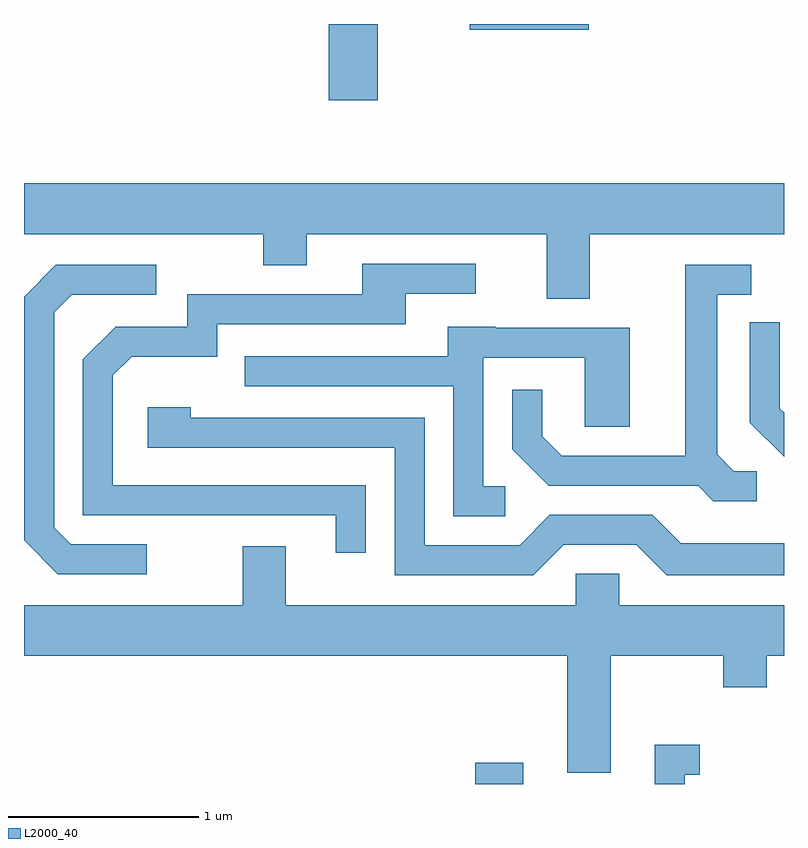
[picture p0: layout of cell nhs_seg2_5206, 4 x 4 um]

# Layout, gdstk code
import gdstk
lib = gdstk.Library(unit=1e-6, precision=1e-09)
def R(c, l, rs):  # rectangles x0, y0, x1, y1
    for r in rs: c.add(gdstk.rectangle(r[:2], r[2:], *l))
def P(c, l, *ps):  # polygons
    for p in ps: c.add(gdstk.Polygon(p, *l))
L2000_40 = (2000, 40)

nhs_seg2_5206 = lib.new_cell('nhs_seg2_5206')
R(nhs_seg2_5206, L2000_40, [(339.986,1109.802,340.239,1109.914), (339.216,1113.401,339.474,1113.802), (339.956,1113.771,340.584,1113.802)])
P(nhs_seg2_5206, L2000_40, [(340.589,1112.696),(341.611,1112.696),(341.611,1112.964),(337.611,1112.964),(337.611,1112.696),(338.871,1112.696),(338.871,1112.531),(339.099,1112.531),(339.099,1112.696),(340.361,1112.696),(340.361,1112.356),(340.589,1112.356)],
  [(339.409,1111.374),(338.079,1111.374),(338.079,1111.954),(338.177,1112.051),(338.629,1112.051),(338.629,1112.221),(339.619,1112.221),(339.619,1112.381),(339.988,1112.381),(339.988,1112.539),(339.391,1112.539),(339.391,1112.379),(338.471,1112.379),(338.471,1112.209),(338.094,1112.209),(337.921,1112.037),(337.921,1111.216),(339.251,1111.216),(339.251,1111.018),(339.409,1111.018)],
  [(341.468,1111.449),(341.347,1111.449),(341.259,1111.537),(341.259,1112.376),(341.438,1112.376),(341.438,1112.534),(341.091,1112.534),(341.091,1111.529),(340.442,1111.529),(340.339,1111.632),(340.339,1111.878),(340.181,1111.878),(340.181,1111.564),(340.374,1111.371),(341.159,1111.371),(341.239,1111.291),(341.468,1111.291)],
  [(338.258,1111.064),(337.857,1111.064),(337.769,1111.152),(337.769,1112.284),(337.862,1112.376),(338.308,1112.376),(338.308,1112.534),(337.779,1112.534),(337.611,1112.367),(337.611,1111.084),(337.789,1110.906),(338.258,1110.906)],
  [(341.611,1111.755),(341.589,1111.777),(341.589,1112.233),(341.431,1112.233),(341.431,1111.704),(341.611,1111.524)],
  [(340.143,1111.369),(340.029,1111.369),(340.029,1112.046),(340.561,1112.046),(340.561,1111.681),(340.799,1111.681),(340.799,1112.204),(340.095,1112.204),(340.095,1112.209),(339.841,1112.209),(339.841,1112.054),(338.773,1112.054),(338.773,1111.896),(339.871,1111.896),(339.871,1111.211),(340.143,1111.211)],
  [(340.452,1111.061),(340.834,1111.061),(340.994,1110.901),(341.611,1110.901),(341.611,1111.069),(341.067,1111.069),(340.917,1111.219),(340.379,1111.219),(340.219,1111.059),(339.719,1111.059),(339.719,1111.729),(338.489,1111.729),(338.489,1111.784),(338.261,1111.784),(338.261,1111.571),(339.561,1111.571),(339.561,1110.901),(340.292,1110.901)],
  [(340.699,1110.476),(341.291,1110.476),(341.291,1110.311),(341.519,1110.311),(341.519,1110.476),(341.611,1110.476),(341.611,1110.744),(340.744,1110.744),(340.744,1110.909),(340.516,1110.909),(340.516,1110.744),(338.989,1110.744),(338.989,1111.054),(338.761,1111.054),(338.761,1110.744),(337.611,1110.744),(337.611,1110.476),(340.471,1110.476),(340.471,1109.861),(340.699,1109.861)],
  [(341.089,1109.851),(341.168,1109.851),(341.168,1110.009),(340.931,1110.009),(340.931,1109.802),(341.089,1109.802)])

lib.write_gds('nhs_seg2_5206.gds')
